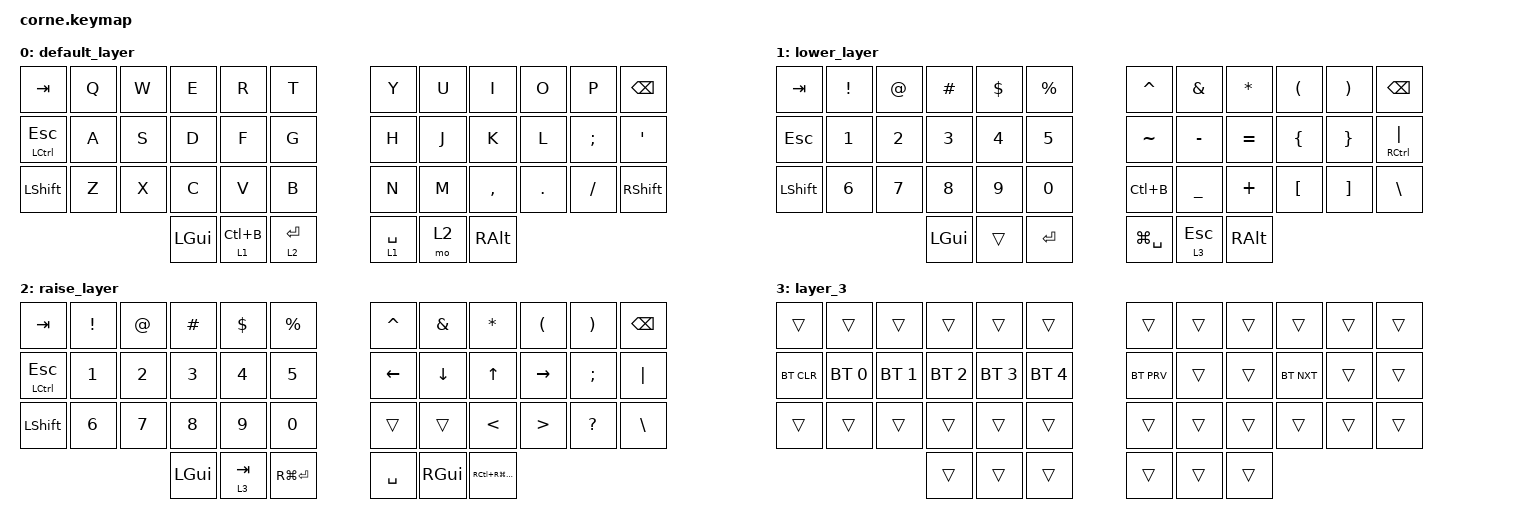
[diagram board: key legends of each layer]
/*
 * Copyright (c) 2020 The ZMK Contributors
 *
 * SPDX-License-Identifier: MIT
 */

#include <behaviors.dtsi>
#include <dt-bindings/zmk/bt.h>
#include <dt-bindings/zmk/keys.h>

/ {
    combos {
        compatible = "zmk,combos";

        ctrl_tiilde {
            bindings = <&kp LG(GRAVE)>;
            key-positions = <36 12>;
        };
    };

    keymap {
        compatible = "zmk,keymap";

        default_layer {
            // -----------------------------------------------------------------------------------------
            // |  TAB |  Q  |  W  |  E  |  R  |  T  |   |  Y  |  U   |  I  |  O  |  P  | BSPC |
            // | CTRL |  A  |  S  |  D  |  F  |  G  |   |  H  |  J   |  K  |  L  |  ;  |  '   |
            // | SHFT |  Z  |  X  |  C  |  V  |  B  |   |  N  |  M   |  ,  |  .  |  /  | ESC  |
            //                    | GUI | LWR | SPC |   | ENT | RSE  | ALT |

            bindings = <
&kp TAB           &kp Q  &kp W  &kp E     &kp R        &kp T           &kp Y        &kp U  &kp I      &kp O    &kp P     &kp BSPC
&mt LCTRL ESCAPE  &kp A  &kp S  &kp D     &kp F        &kp G           &kp H        &kp J  &kp K      &kp L    &kp SEMI  &kp SQT
&kp LSHFT         &kp Z  &kp X  &kp C     &kp V        &kp B           &kp N        &kp M  &kp COMMA  &kp DOT  &kp FSLH  &kp RIGHT_SHIFT
                                &kp LGUI  &lt 1 LC(B)  &lt 2 RETURN    &lt 1 SPACE  &mo 2  &kp RALT
            >;
        };

        lower_layer {
            // -----------------------------------------------------------------------------------------
            // |  TAB |  1  |  2  |  3  |  4  |  5  |   |  6  |  7  |  8  |  9  |  0  | BSPC |
            // | BTCLR| BT1 | BT2 | BT3 | BT4 | BT5 |   | LFT | DWN |  UP | RGT |     |      |
            // | SHFT |     |     |     |     |     |   |     |     |     |     |     |      |
            //                    | GUI |     | SPC |   | ENT |     | ALT |

            bindings = <
&kp TAB    &kp EXCL  &kp AT  &kp POUND  &kp DOLLAR  &kp PERCENT    &kp CARET      &kp AMPS        &kp ASTERISK  &kp LEFT_PARENTHESIS  &kp RIGHT_PARENTHESIS  &kp BSPC
&kp ESC    &kp N1    &kp N2  &kp N3     &kp N4      &kp N5         &kp TILDE      &kp MINUS       &kp EQUAL     &kp LEFT_BRACE        &kp RIGHT_BRACE        &mt RIGHT_CONTROL PIPE
&kp LSHFT  &kp N6    &kp N7  &kp N8     &kp N9      &kp N0         &kp LC(B)      &kp UNDERSCORE  &kp PLUS      &kp LEFT_BRACKET      &kp RIGHT_BRACKET      &kp BACKSLASH
                             &kp LGUI   &trans      &kp ENTER      &kp LG(SPACE)  &lt 3 ESCAPE    &kp RALT
            >;
        };

        raise_layer {
            // -----------------------------------------------------------------------------------------
            // |  TAB |  !  |  @  |  #  |  $  |  %  |   |  ^  |  &  |  *  |  (  |  )  | BSPC |
            // | CTRL |     |     |     |     |     |   |  -  |  =  |  [  |  ]  |  \  |  `   |
            // | SHFT |     |     |     |     |     |   |  _  |  +  |  {  |  }  | "|" |  ~   |
            //                    | GUI |     | SPC |   | ENT |     | ALT |

            bindings = <
&kp TAB        &kp EXCLAMATION  &kp AT_SIGN   &kp HASH      &kp DOLLAR    &kp PERCENT      &kp CARET  &kp AMPERSAND  &kp ASTERISK      &kp LEFT_PARENTHESIS  &kp RIGHT_PARENTHESIS  &kp BSPC
&mt LCTRL ESC  &kp NUMBER_1     &kp NUMBER_2  &kp NUMBER_3  &kp NUMBER_4  &kp N5           &kp LEFT   &kp DOWN       &kp UP_ARROW      &kp RIGHT             &kp SEMICOLON          &kp PIPE
&kp LSHFT      &kp NUMBER_6     &kp N7        &kp N8        &kp N9        &kp N0           &trans     &trans         &kp LESS_THAN     &kp GREATER_THAN      &kp QUESTION           &kp BACKSLASH
                                              &kp LGUI      &lt 3 TAB     &kp RG(ENTER)    &kp SPACE  &kp RIGHT_GUI  &kp RC(RG(RALT))
            >;
        };

        layer_3 {
            bindings = <
&trans      &trans        &trans        &trans        &trans        &trans          &trans      &trans  &trans  &trans      &trans  &trans
&bt BT_CLR  &bt BT_SEL 0  &bt BT_SEL 1  &bt BT_SEL 2  &bt BT_SEL 3  &bt BT_SEL 4    &bt BT_PRV  &trans  &trans  &bt BT_NXT  &trans  &trans
&trans      &trans        &trans        &trans        &trans        &trans          &trans      &trans  &trans  &trans      &trans  &trans
                                        &trans        &trans        &trans          &trans      &trans  &trans
            >;
        };
    };
};
